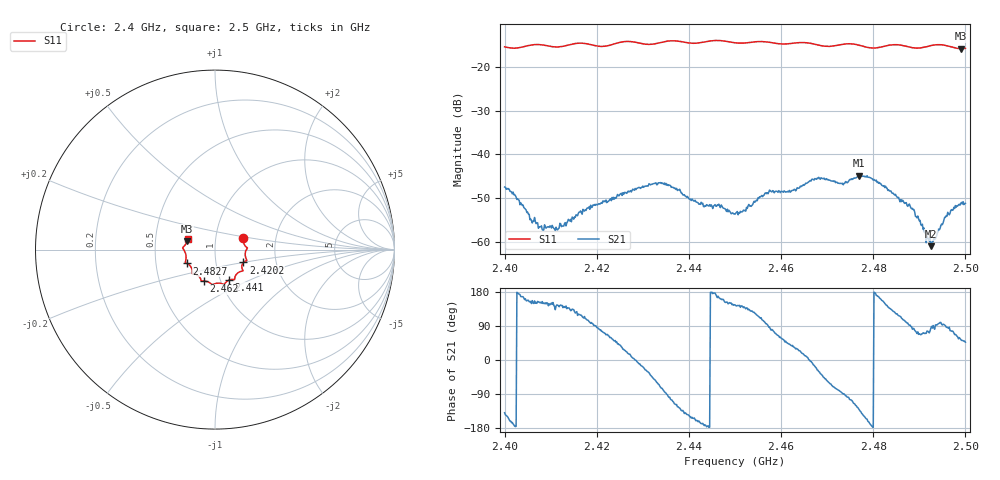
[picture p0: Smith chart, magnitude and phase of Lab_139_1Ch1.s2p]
# Hz S RI R 50
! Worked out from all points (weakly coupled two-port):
!   601 points, 2.4 GHz to 2.5 GHz, reference 50 ohm
!   highest |S21| = -44.84 dB at 2.4768 GHz (marker M1); lowest = -61.0 dB at 2.4925 GHz (marker M2)
!   lowest |S11| = -15.8 dB at 2.499 GHz (marker M3), VSWR 1.39, Z = 36.4 + j3.48 ohm
!   |S11| at or under -10 dB: start of sweep to end of sweep
!   S12 and S22 are empty: the file has one direction only
!   S11 on the Smith chart (normalised r, x): 2.4 GHz: 1.36, +0.18; 2.4202 GHz: 1.36, -0.20; 2.441 GHz: 1.10, -0.39; 2.462 GHz: 0.84, -0.30; 2.4827 GHz: 0.72, -0.12; 2.5 GHz: 0.73, +0.09
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2.4e9  0.1583 0.0626  -0.00321 -0.00278  0 0  0 0
2.402e9  0.1597 0.0388  -0.00342 -0.000531  0 0  0 0
2.408e9  0.1795 0.00649  -0.00132 0.000763  0 0  0 0
2.411333e9  0.1684 -0.0201  -0.00114 0.000785  0 0  0 0
2.416667e9  0.1775 -0.0606  -0.00102 0.0019  0 0  0 0
2.420167e9  0.1582 -0.0713  0.000214 0.00265  0 0  0 0
2.433333e9  0.1118 -0.151  0.00212 -0.00423  0 0  0 0
2.441e9  0.0783 -0.1698  -0.00265 -0.00128  0 0  0 0
2.45e9  0.0282 -0.1873  -0.00171 0.00117  0 0  0 0
2.457167e9  -0.0205 -0.1919  -5.93e-05 0.00356  0 0  0 0
2.462e9  -0.0605 -0.1755  0.00284 0.00237  0 0  0 0
2.466667e9  -0.0785 -0.1683  0.00517 -0.000594  0 0  0 0
2.473333e9  -0.122 -0.1346  0.000164 -0.00468  0 0  0 0
2.476833e9  -0.1266 -0.1256  -0.0036 -0.00445  0 0  0 0
2.482667e9  -0.1562 -0.0773  -0.00365 0.00236  0 0  0 0
2.483333e9  -0.1604 -0.0754  -0.00299 0.00259  0 0  0 0
2.488333e9  -0.1609 -0.0454  9.61e-05 0.00239  0 0  0 0
2.4925e9  -0.1757 0.00138  9.5e-05 0.000889  0 0  0 0
2.493333e9  -0.1791 0.00579  0.000166 0.00107  0 0  0 0
2.495833e9  -0.1755 0.0157  0.000108 0.00199  0 0  0 0
2.499e9  -0.1553 0.0465  0.00162 0.00224  0 0  0 0
2.5e9  -0.152 0.0608  0.00189 0.00202  0 0  0 0
